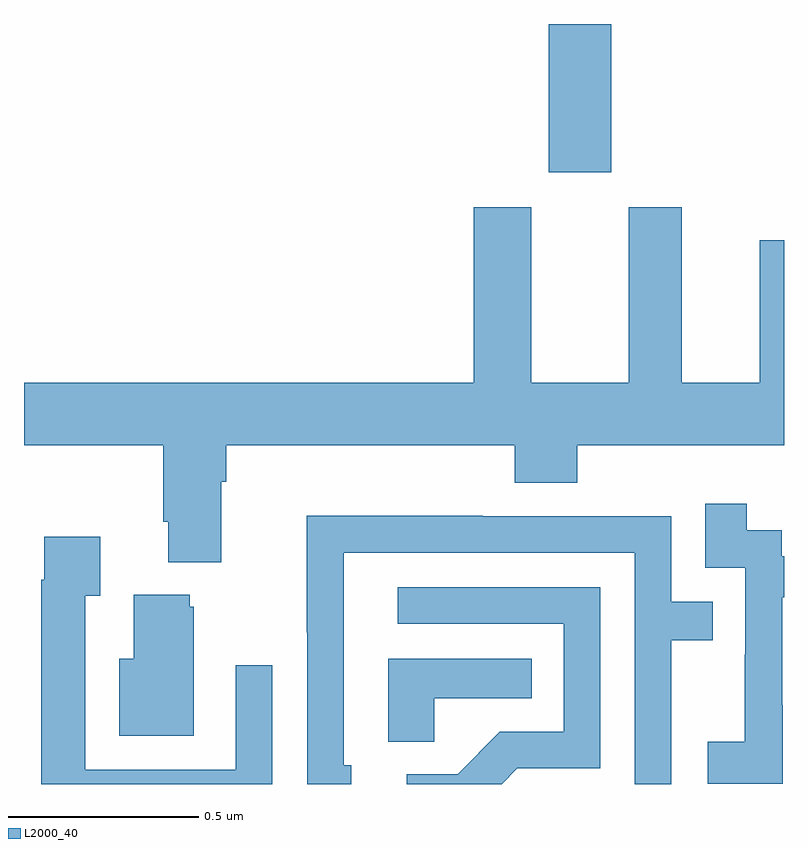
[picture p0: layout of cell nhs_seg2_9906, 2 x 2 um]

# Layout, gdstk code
import gdstk
lib = gdstk.Library(unit=1e-6, precision=1e-09)
def R(c, l, rs):  # rectangles x0, y0, x1, y1
    for r in rs: c.add(gdstk.rectangle(r[:2], r[2:], *l))
def P(c, l, *ps):  # polygons
    for p in ps: c.add(gdstk.Polygon(p, *l))
L2000_40 = (2000, 40)

nhs_seg2_9906 = lib.new_cell('nhs_seg2_9906')
R(nhs_seg2_9906, L2000_40, [(236.381,592.41,236.545,592.8)])
P(nhs_seg2_9906, L2000_40, [(235.519,591.596),(235.532,591.596),(235.532,591.692),(236.291,591.692),(236.291,591.593),(236.456,591.593),(236.456,591.692),(237,591.692),(237,592.231),(236.936,592.231),(236.936,591.856),(236.731,591.856),(236.731,592.318),(236.591,592.318),(236.591,591.856),(236.335,591.856),(236.335,592.318),(236.183,592.318),(236.183,591.856),(235,591.856),(235,591.692),(235.367,591.692),(235.367,591.49),(235.379,591.49),(235.379,591.383),(235.519,591.383)],
  [(236.997,591.007),(236.996,591.007),(236.996,591.291),(237,591.291),(237,591.399),(236.994,591.399),(236.994,591.468),(236.902,591.468),(236.902,591.538),(236.793,591.538),(236.793,591.369),(236.898,591.369),(236.898,591.14),(236.897,591.14),(236.897,590.911),(236.799,590.911),(236.799,590.801),(236.997,590.801)],
  [(235.861,590.85),(235.842,590.85),(235.842,591.408),(236.607,591.408),(236.607,590.8),(236.703,590.8),(236.703,591.178),(236.813,591.178),(236.813,591.279),(236.703,591.279),(236.703,591.504),(236.207,591.504),(236.207,591.506),(235.744,591.506),(235.744,591.199),(235.746,591.199),(235.746,590.8),(235.861,590.8)],
  [(235.653,591.112),(235.557,591.112),(235.557,590.838),(235.161,590.838),(235.161,591.295),(235.201,591.295),(235.201,591.451),(235.053,591.451),(235.053,591.338),(235.045,591.338),(235.045,590.8),(235.653,590.8)],
  [(236.298,590.841),(236.517,590.841),(236.517,591.318),(235.983,591.318),(235.983,591.222),(236.421,591.222),(236.421,590.937),(236.252,590.937),(236.141,590.826),(236.007,590.826),(236.007,590.8),(236.257,590.8)],
  [(235.447,591.267),(235.436,591.267),(235.436,591.298),(235.289,591.298),(235.289,591.13),(235.25,591.13),(235.25,590.927),(235.447,590.927)],
  [(236.079,591.026),(236.336,591.026),(236.336,591.13),(235.958,591.13),(235.958,590.911),(236.079,590.911)])

lib.write_gds('nhs_seg2_9906.gds')
